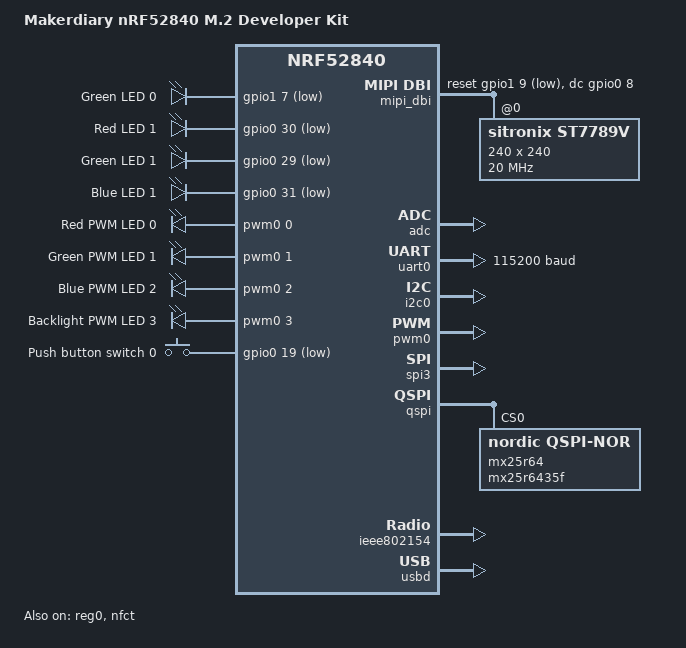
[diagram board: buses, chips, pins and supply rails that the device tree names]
/*
 * Copyright (c) 2020 makerdiary
 * Copyright (c) 2026
 * SPDX-License-Identifier: Apache-2.0
 */

/dts-v1/;
#include <nordic/nrf52840_qiaa.dtsi>
#include "nrf52840_m2-stock-partitions.dtsi"
#include "nrf52840_m2-pinctrl.dtsi"
#include <zephyr/dt-bindings/input/input-event-codes.h>
#include <zephyr/dt-bindings/mipi_dbi/mipi_dbi.h>

/ {
	model = "Makerdiary nRF52840 M.2 Developer Kit";
	compatible = "makerdiary,nrf52840-m2-devkit", "nordic,nrf52840-dk-nrf52840";

	chosen {
		zephyr,console = &uart0;
		zephyr,shell-uart = &uart0;
		zephyr,uart-mcumgr = &uart0;
		zephyr,bt-mon-uart = &uart0;
		zephyr,bt-c2h-uart = &uart0;
		zephyr,ieee802154 = &ieee802154;
		zephyr,display = &st7789v;
	};

	mipi_dbi {
		compatible = "zephyr,mipi-dbi-spi";
		spi-dev = <&spi3>;
		dc-gpios = <&gpio0 8 GPIO_ACTIVE_HIGH>;
		reset-gpios = <&gpio1 9 GPIO_ACTIVE_LOW>;
		write-only;
		#address-cells = <1>;
		#size-cells = <0>;
		status = "okay";

		st7789v: st7789v@0 {
			compatible = "sitronix,st7789v";
			status = "okay";
			reg = <0>;
			mipi-max-frequency = <20000000>;
			width = <240>;
			height = <240>;
			x-offset = <80>;
			y-offset = <0>;
			vcom = <0x19>;
			gctrl = <0x35>;
			vrhs = <0x12>;
			vdvs = <0x20>;
			mdac = <0xa0>;
			gamma = <0x01>;
			colmod = <0x05>;
			lcm = <0x2c>;
			porch-param = [0c 0c 00 33 33];
			cmd2en-param = [5a 69 02 01];
			pwctrl1-param = [a4 a1];
			pvgam-param = [d0 04 0d 11 13 2b 3f 54 4c 18 0d 0b 1f 23];
			nvgam-param = [d0 04 0c 11 13 2c 3f 44 51 2f 1f 1f 20 23];
			ram-param = [00 f0];
			rgb-param = [cd 08 14];
			mipi-mode = "MIPI_DBI_MODE_SPI_4WIRE";
		};
	};

	leds {
		compatible = "gpio-leds";

		led0_green: led_0 {
			gpios = <&gpio1 7 GPIO_ACTIVE_LOW>;
			label = "Green LED 0";
		};

		led1_red: led_1 {
			gpios = <&gpio0 30 GPIO_ACTIVE_LOW>;
			label = "Red LED 1";
		};

		led1_green: led_2 {
			gpios = <&gpio0 29 GPIO_ACTIVE_LOW>;
			label = "Green LED 1";
		};

		led1_blue: led_3 {
			gpios = <&gpio0 31 GPIO_ACTIVE_LOW>;
			label = "Blue LED 1";
		};
	};

	pwmleds {
		compatible = "pwm-leds";

		red_pwm_led: pwm_led_0 {
			pwms = <&pwm0 0 PWM_MSEC(20) PWM_POLARITY_INVERTED>;
			label = "Red PWM LED 0";
		};

		green_pwm_led: pwm_led_1 {
			pwms = <&pwm0 1 PWM_MSEC(20) PWM_POLARITY_INVERTED>;
			label = "Green PWM LED 1";
		};

		blue_pwm_led: pwm_led_2 {
			pwms = <&pwm0 2 PWM_MSEC(20) PWM_POLARITY_INVERTED>;
			label = "Blue PWM LED 2";
		};

		backlight_pwm_led: pwm_led_3 {
			pwms = <&pwm0 3 PWM_MSEC(20) 0>;
			label = "Backlight PWM LED 3";
		};
	};

	buttons {
		compatible = "gpio-keys";

		button0: button_0 {
			gpios = <&gpio0 19 (GPIO_PULL_UP | GPIO_ACTIVE_LOW)>;
			label = "Push button switch 0";
			zephyr,code = <INPUT_KEY_0>;
		};
	};

	aliases {
		led0 = &led0_green;
		led1 = &led1_red;
		led2 = &led1_green;
		led3 = &led1_blue;
		led0-green = &led0_green;
		led1-red = &led1_red;
		led1-green = &led1_green;
		led1-blue = &led1_blue;
		pwm-led0 = &red_pwm_led;
		pwm-led1 = &green_pwm_led;
		pwm-led2 = &blue_pwm_led;
		pwm-led3 = &backlight_pwm_led;
		red-pwm-led = &red_pwm_led;
		green-pwm-led = &green_pwm_led;
		blue-pwm-led = &blue_pwm_led;
		backlight-pwm-led = &backlight_pwm_led;
		sw0 = &button0;
		watchdog0 = &wdt0;
	};
};

&reg0 {
	status = "okay";
};

&reg1 {
	regulator-initial-mode = <NRF5X_REG_MODE_DCDC>;
};

&adc {
	status = "okay";
};

&uicr {
	gpio-as-nreset;
};

&gpiote {
	status = "okay";
};

&nfct {
	status = "okay";
};

&gpio0 {
	status = "okay";
};

&gpio1 {
	status = "okay";
};

&uart0 {
	compatible = "nordic,nrf-uarte";
	status = "okay";
	current-speed = <115200>;
	pinctrl-0 = <&uart0_default>;
	pinctrl-1 = <&uart0_sleep>;
	pinctrl-names = "default", "sleep";
};

&i2c0 {
	compatible = "nordic,nrf-twi";
	status = "okay";
	pinctrl-0 = <&i2c0_default>;
	pinctrl-1 = <&i2c0_sleep>;
	pinctrl-names = "default", "sleep";
};

&i2c1 {
	compatible = "nordic,nrf-twi";
	status = "disabled";
	pinctrl-0 = <&i2c1_default>;
	pinctrl-1 = <&i2c1_sleep>;
	pinctrl-names = "default", "sleep";
};

&pwm0 {
	status = "okay";
	pinctrl-0 = <&pwm0_default>;
	pinctrl-1 = <&pwm0_sleep>;
	pinctrl-names = "default", "sleep";
};

&spi3 {
	compatible = "nordic,nrf-spim";
	status = "okay";
	cs-gpios = <&gpio0 6 GPIO_ACTIVE_LOW>;
	pinctrl-0 = <&spi3_default>;
	pinctrl-1 = <&spi3_sleep>;
	pinctrl-names = "default", "sleep";
};

&qspi {
	status = "okay";
	pinctrl-0 = <&qspi_default>;
	pinctrl-1 = <&qspi_sleep>;
	pinctrl-names = "default", "sleep";

	mx25r64: mx25r6435f@0 {
		compatible = "nordic,qspi-nor";
		reg = <0>;
		writeoc = "pp4io";
		readoc = "read4io";
		sck-frequency = <8000000>;
		jedec-id = [c2 28 17];
		size = <67108864>;
		has-dpd;
		t-enter-dpd = <10000>;
		t-exit-dpd = <35000>;
	};
};

&ieee802154 {
	status = "okay";
};

zephyr_udc0: &usbd {
	compatible = "nordic,nrf-usbd";
	status = "okay";
};
